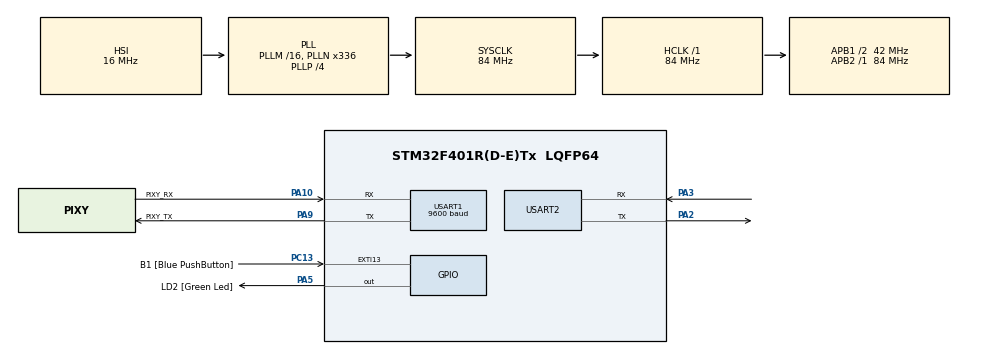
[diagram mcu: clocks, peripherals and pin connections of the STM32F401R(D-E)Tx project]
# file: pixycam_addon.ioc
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Mcu.Family=STM32F4
Mcu.Name=STM32F401R(D-E)Tx
Mcu.Package=LQFP64
NVIC.PriorityGroup=NVIC_PRIORITYGROUP_0
NVIC.USART1_IRQn=true\:0\:0\:false\:false\:true\:true\:true\:true
PA10.GPIO_Label=PIXY_RX
PA10.Mode=Asynchronous
PA10.Signal=USART1_RX
PA13.GPIO_Label=TMS
PA13.Signal=SYS_JTMS-SWDIO
PA14.GPIO_Label=TCK
PA14.Signal=SYS_JTCK-SWCLK
PA2.Mode=Asynchronous
PA2.Signal=USART2_TX
PA3.Mode=Asynchronous
PA3.Signal=USART2_RX
PA5.GPIO_Label=LD2 [Green Led]
PA5.GPIO_Mode=GPIO_MODE_OUTPUT_PP
PA5.GPIO_PuPd=GPIO_NOPULL
PA5.GPIO_Speed=GPIO_SPEED_FREQ_LOW
PA5.Signal=GPIO_Output
PA9.GPIO_Label=PIXY_TX
PA9.Mode=Asynchronous
PA9.Signal=USART1_TX
PB3.GPIO_Label=SWO
PB3.Signal=SYS_JTDO-SWO
PC13-ANTI_TAMP.GPIO_Label=B1 [Blue PushButton]
PC13-ANTI_TAMP.GPIO_ModeDefaultEXTI=GPIO_MODE_IT_FALLING
PC13-ANTI_TAMP.GPIO_PuPd=GPIO_NOPULL
PC13-ANTI_TAMP.Signal=GPXTI13
PC14-OSC32_IN.Signal=RCC_OSC32_IN
PC15-OSC32_OUT.Signal=RCC_OSC32_OUT
PH0\ -\ OSC_IN.Signal=RCC_OSC_IN
PH1\ -\ OSC_OUT.Signal=RCC_OSC_OUT
ProjectManager.HeapSize=0x200
ProjectManager.StackSize=0x400
ProjectManager.TargetToolchain=STM32CubeIDE
RCC.AHBFreq_Value=84000000
RCC.APB1CLKDivider=RCC_HCLK_DIV2
RCC.APB1Freq_Value=42000000
RCC.APB1TimFreq_Value=84000000
RCC.APB2Freq_Value=84000000
RCC.APB2TimFreq_Value=84000000
RCC.CortexFreq_Value=84000000
RCC.HCLKFreq_Value=84000000
RCC.HSE_VALUE=8000000
RCC.HSI_VALUE=16000000
RCC.LSE_VALUE=32768
RCC.PLLN=336
RCC.PLLP=RCC_PLLP_DIV4
RCC.PLLQ=7
RCC.SYSCLKFreq_VALUE=84000000
RCC.SYSCLKSource=RCC_SYSCLKSOURCE_PLLCLK
RCC.VCOOutputFreq_Value=336000000
USART1.BaudRate=9600
USART1.VirtualMode=VM_ASYNC
USART2.VirtualMode=VM_ASYNC
board=NUCLEO-F401RE

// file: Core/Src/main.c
/* USER CODE BEGIN Header */
/**
  ******************************************************************************
  * @file           : main.c
  * @brief          : Main program body
  ******************************************************************************
  * @attention
  *
  * Copyright (c) 2024 STMicroelectronics.
  * All rights reserved.
  *
  * This software is licensed under terms that can be found in the LICENSE file
  * in the root directory of this software component.
  * If no LICENSE file comes with this software, it is provided AS-IS.
  *
  ******************************************************************************
  */
/* USER CODE END Header */
#include "main.h"

/* USER CODE BEGIN Includes */
#include "stdio.h"
/* USER CODE END Includes */

/* USER CODE BEGIN PD */

typedef enum {
	IDLE,
	LOST,
	NOT_DETECTED,
	TO_LEFT,
	TO_RIGHT,
	READY
} Track_State;

Track_State state;
int enable = 0;

/* USER CODE END PD */

UART_HandleTypeDef huart1;
UART_HandleTypeDef huart2;

void SystemClock_Config(void);
static void MX_GPIO_Init(void);
static void MX_USART2_UART_Init(void);
static void MX_USART1_UART_Init(void);

/* USER CODE BEGIN 0 */

uint8_t tx_blocks_buff[]={0xae,0xc1,32,2,1,1};
uint8_t rx_blocks_buff[20];

void detect_object_location(void);
void capture_and_update(void);

/* USER CODE END 0 */

int main(void)
{
  /* USER CODE BEGIN 1 */
	__HAL_RCC_GPIOA_CLK_ENABLE();
	state = IDLE;
  /* USER CODE END 1 */

  /* MCU Configuration--------------------------------------------------------*/

  /* Reset of all peripherals, Initializes the Flash interface and the Systick. */
  HAL_Init();

  /* Configure the system clock */
  SystemClock_Config();

  /* Initialize all configured peripherals */
  MX_GPIO_Init();
  MX_USART2_UART_Init();
  MX_USART1_UART_Init();

  /* Infinite loop */
  /* USER CODE BEGIN WHILE */
  enable = 1;
  while (1)
  {
    /* USER CODE END WHILE */

    /* USER CODE BEGIN 3 */

	capture_and_update();
//	if (state == READY) {
//		enable = 0;
//		break;
//	}
	printf("current state is %d \n\r", state);
//  detect_object_location();
	HAL_Delay(500);
  }
  printf("It's ready!");
  /* USER CODE END 3 */
}

void SystemClock_Config(void)
{
  RCC_OscInitTypeDef RCC_OscInitStruct = {0};
  RCC_ClkInitTypeDef RCC_ClkInitStruct = {0};

  /** Configure the main internal regulator output voltage
  */
  __HAL_RCC_PWR_CLK_ENABLE();
  __HAL_PWR_VOLTAGESCALING_CONFIG(PWR_REGULATOR_VOLTAGE_SCALE2);

  /** Initializes the RCC Oscillators according to the specified parameters
  * in the RCC_OscInitTypeDef structure.
  */
  RCC_OscInitStruct.OscillatorType = RCC_OSCILLATORTYPE_HSI;
  RCC_OscInitStruct.HSIState = RCC_HSI_ON;
  RCC_OscInitStruct.HSICalibrationValue = RCC_HSICALIBRATION_DEFAULT;
  RCC_OscInitStruct.PLL.PLLState = RCC_PLL_ON;
  RCC_OscInitStruct.PLL.PLLSource = RCC_PLLSOURCE_HSI;
  RCC_OscInitStruct.PLL.PLLM = 16;
  RCC_OscInitStruct.PLL.PLLN = 336;
  RCC_OscInitStruct.PLL.PLLP = RCC_PLLP_DIV4;
  RCC_OscInitStruct.PLL.PLLQ = 7;
  if (HAL_RCC_OscConfig(&RCC_OscInitStruct) != HAL_OK)
  {
    Error_Handler();
  }

  /** Initializes the CPU, AHB and APB buses clocks
  */
  RCC_ClkInitStruct.ClockType = RCC_CLOCKTYPE_HCLK|RCC_CLOCKTYPE_SYSCLK
                              |RCC_CLOCKTYPE_PCLK1|RCC_CLOCKTYPE_PCLK2;
  RCC_ClkInitStruct.SYSCLKSource = RCC_SYSCLKSOURCE_PLLCLK;
  RCC_ClkInitStruct.AHBCLKDivider = RCC_SYSCLK_DIV1;
  RCC_ClkInitStruct.APB1CLKDivider = RCC_HCLK_DIV2;
  RCC_ClkInitStruct.APB2CLKDivider = RCC_HCLK_DIV1;

  if (HAL_RCC_ClockConfig(&RCC_ClkInitStruct, FLASH_LATENCY_2) != HAL_OK)
  {
    Error_Handler();
  }
}

static void MX_USART1_UART_Init(void)
{

  huart1.Instance = USART1;
  huart1.Init.BaudRate = 9600;
  huart1.Init.WordLength = UART_WORDLENGTH_8B;
  huart1.Init.StopBits = UART_STOPBITS_1;
  huart1.Init.Parity = UART_PARITY_NONE;
  huart1.Init.Mode = UART_MODE_TX_RX;
  huart1.Init.HwFlowCtl = UART_HWCONTROL_NONE;
  huart1.Init.OverSampling = UART_OVERSAMPLING_16;
  if (HAL_UART_Init(&huart1) != HAL_OK)
  {
    Error_Handler();
  }

}

static void MX_USART2_UART_Init(void)
{

  huart2.Instance = USART2;
  huart2.Init.BaudRate = 115200;
  huart2.Init.WordLength = UART_WORDLENGTH_8B;
  huart2.Init.StopBits = UART_STOPBITS_1;
  huart2.Init.Parity = UART_PARITY_NONE;
  huart2.Init.Mode = UART_MODE_TX_RX;
  huart2.Init.HwFlowCtl = UART_HWCONTROL_NONE;
  huart2.Init.OverSampling = UART_OVERSAMPLING_16;
  if (HAL_UART_Init(&huart2) != HAL_OK)
  {
    Error_Handler();
  }

}

static void MX_GPIO_Init(void)
{
  GPIO_InitTypeDef GPIO_InitStruct = {0};

  /* GPIO Ports Clock Enable */
  __HAL_RCC_GPIOC_CLK_ENABLE();
  __HAL_RCC_GPIOH_CLK_ENABLE();
  __HAL_RCC_GPIOA_CLK_ENABLE();
  __HAL_RCC_GPIOB_CLK_ENABLE();

  /*Configure GPIO pin Output Level */
  HAL_GPIO_WritePin(LD2_GPIO_Port, LD2_Pin, GPIO_PIN_RESET);

  /*Configure GPIO pin : B1_Pin */
  GPIO_InitStruct.Pin = B1_Pin;
  GPIO_InitStruct.Mode = GPIO_MODE_IT_FALLING;
  GPIO_InitStruct.Pull = GPIO_NOPULL;
  HAL_GPIO_Init(B1_GPIO_Port, &GPIO_InitStruct);

  /*Configure GPIO pin : LD2_Pin */
  GPIO_InitStruct.Pin = LD2_Pin;
  GPIO_InitStruct.Mode = GPIO_MODE_OUTPUT_PP;
  GPIO_InitStruct.Pull = GPIO_NOPULL;
  GPIO_InitStruct.Speed = GPIO_SPEED_FREQ_LOW;
  HAL_GPIO_Init(LD2_GPIO_Port, &GPIO_InitStruct);

}

/* USER CODE BEGIN 4 */
#ifdef __GNUC__
#define PUTCHAR_PROTOTYPE int __io_putchar(int ch)
#else
  #define PUTCHAR_PROTOTYPE int fputc(int ch, FILE *f)
#endif /* __GNUC__ */
PUTCHAR_PROTOTYPE
{
  HAL_UART_Transmit(&huart2, (uint8_t *)&ch, 1, 0xFFFF);
  return ch;
}

void detect_object_location()
{
	const int sig = 1;
	const int tolerate_x = 30;   // tolerance in x direction in pixels
	const int tolerate_y = 20;   // tolerance in x direction in pixels
	int x_pos, y_pos;

	HAL_UART_Transmit(&huart1, tx_blocks_buff, 6, 1000);
	HAL_UART_Receive(&huart1, rx_blocks_buff, 20, 1000);
	HAL_Delay(10);
	int sanity = 0;
	int if_detected = 0;
	sanity = (rx_blocks_buff[0] == 175) && (rx_blocks_buff[1] == 193) && (rx_blocks_buff[2] == 33);
	if_detected = (rx_blocks_buff[3] == 14);

	for(int i = 0; i< 20; i++){
		printf("%d   ", rx_blocks_buff[i]);
	}
	printf("\n\r");

	// light a led for debug if pixy cam is offline
	if (sanity == 1) {
		HAL_GPIO_WritePin(GPIOA, GPIO_PIN_5, GPIO_PIN_RESET);  // switch on the led
	} else {
		HAL_GPIO_WritePin(GPIOA, GPIO_PIN_5, GPIO_PIN_SET);
		return;
	}

	if (if_detected == 1) {
		x_pos = rx_blocks_buff[8];
		y_pos = rx_blocks_buff[10];
		printf("target detected at (%d,%d)! \n\r", x_pos, y_pos);
		//
	} else {
		printf("target not detected! \n\r");
		// write to gpio to trigger a interrupt
		return;
	}

	HAL_Delay(100);
}

void capture_and_update() {
	HAL_UART_Transmit(&huart1, tx_blocks_buff, 6, 1000);
	HAL_UART_Receive(&huart1, rx_blocks_buff, 20, 1000);
	HAL_Delay(5);

	for(int i = 0; i< 20; i++){
		printf("%d   ", rx_blocks_buff[i]);
	}
	printf("\n");

	const int tolerate_x = 30;   // tolerance in x direction in pixels
	const int ref_x = 157;
	const int tolerate_y = 20;   // tolerance in x direction in pixels
	HAL_GPIO_WritePin(GPIOA, GPIO_PIN_5, GPIO_PIN_RESET);
	switch (state) {
	case IDLE:
		if (enable) {
			state = LOST;
		}
		break;
	case LOST:
		if ((rx_blocks_buff[0] == 175) && (rx_blocks_buff[1] == 193) && (rx_blocks_buff[2] == 33)) {
			state = NOT_DETECTED;
		}
		if (!enable) {
			state = IDLE;
		}
		break;
	case NOT_DETECTED:

	case TO_RIGHT:

	case TO_LEFT:
			if (!enable) {
				state = IDLE;
				break;
			}
			if ((rx_blocks_buff[0] == 175) && (rx_blocks_buff[1] == 193) && (rx_blocks_buff[2] == 33)) {
				if (rx_blocks_buff[3] == 14) {
					// detected
					int x_pos = rx_blocks_buff[8];
					int y_pos = rx_blocks_buff[10];
					printf("target detected at (%d,%d)! \n\r", x_pos, y_pos);
					if (x_pos > ref_x + tolerate_x) {
						state = TO_RIGHT;
					} else if (x_pos < ref_x - tolerate_x) {
						state = TO_LEFT;
					} else {
						state = READY;
					}
				} else {
					state = NOT_DETECTED;
				}
			} else {
				state = LOST;
			}
			break;
	case READY:
		// set the gpio for launching the ball
		HAL_GPIO_WritePin(GPIOA, GPIO_PIN_5, GPIO_PIN_SET);
//		enable = 0;
		state = IDLE;
		break;
	}

	printf("current state is %d \n\r", state);

}

/* USER CODE END 4 */

void Error_Handler(void)
{
  __disable_irq();
  while (1)
  {
  }
}
